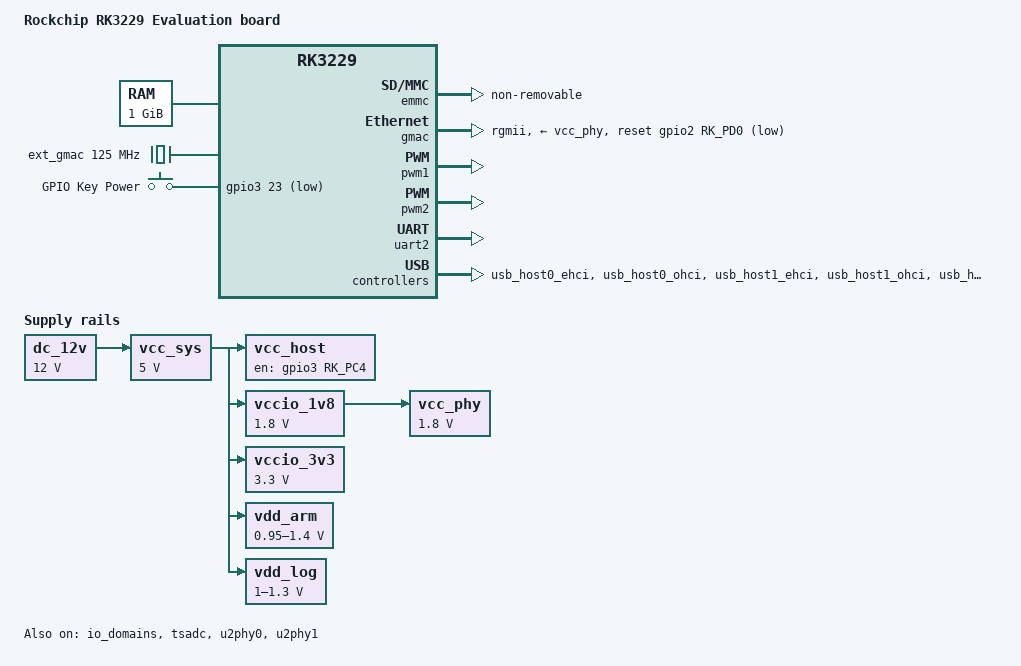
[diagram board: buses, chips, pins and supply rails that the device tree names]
// SPDX-License-Identifier: (GPL-2.0+ OR MIT)

/dts-v1/;

#include <dt-bindings/input/input.h>
#include "rk3229.dtsi"

/ {
	model = "Rockchip RK3229 Evaluation board";
	compatible = "rockchip,rk3229-evb", "rockchip,rk3229";

	aliases {
		mmc0 = &emmc;
	};

	memory@60000000 {
		device_type = "memory";
		reg = <0x60000000 0x40000000>;
	};

	dc_12v: regulator-dc-12v {
		compatible = "regulator-fixed";
		regulator-name = "dc_12v";
		regulator-always-on;
		regulator-boot-on;
		regulator-min-microvolt = <12000000>;
		regulator-max-microvolt = <12000000>;
	};

	ext_gmac: ext_gmac {
		compatible = "fixed-clock";
		clock-frequency = <125000000>;
		clock-output-names = "ext_gmac";
		#clock-cells = <0>;
	};

	vcc_host: regulator-vcc-host {
		compatible = "regulator-fixed";
		enable-active-high;
		gpio = <&gpio3 RK_PC4 GPIO_ACTIVE_HIGH>;
		pinctrl-names = "default";
		pinctrl-0 = <&host_vbus_drv>;
		regulator-name = "vcc_host";
		regulator-always-on;
		regulator-boot-on;
		vin-supply = <&vcc_sys>;
	};

	vcc_phy: regulator-vcc-phy {
		compatible = "regulator-fixed";
		enable-active-high;
		regulator-name = "vcc_phy";
		regulator-min-microvolt = <1800000>;
		regulator-max-microvolt = <1800000>;
		regulator-always-on;
		regulator-boot-on;
		vin-supply = <&vccio_1v8>;
	};

	vcc_sys: regulator-vcc-sys {
		compatible = "regulator-fixed";
		regulator-name = "vcc_sys";
		regulator-always-on;
		regulator-boot-on;
		regulator-min-microvolt = <5000000>;
		regulator-max-microvolt = <5000000>;
		vin-supply = <&dc_12v>;
	};

	vccio_1v8: regulator-vccio-1v8 {
		compatible = "regulator-fixed";
		regulator-name = "vccio_1v8";
		regulator-min-microvolt = <1800000>;
		regulator-max-microvolt = <1800000>;
		regulator-always-on;
		vin-supply = <&vcc_sys>;
	};

	vccio_3v3: regulator-vccio-3v3 {
		compatible = "regulator-fixed";
		regulator-name = "vccio_3v3";
		regulator-min-microvolt = <3300000>;
		regulator-max-microvolt = <3300000>;
		regulator-always-on;
		vin-supply = <&vcc_sys>;
	};

	vdd_arm: regulator-vdd-arm {
		compatible = "pwm-regulator";
		pwms = <&pwm1 0 25000 1>;
		pwm-supply = <&vcc_sys>;
		regulator-name = "vdd_arm";
		regulator-min-microvolt = <950000>;
		regulator-max-microvolt = <1400000>;
		regulator-always-on;
		regulator-boot-on;
	};

	vdd_log: regulator-vdd-log {
		compatible = "pwm-regulator";
		pwms = <&pwm2 0 25000 1>;
		pwm-supply = <&vcc_sys>;
		regulator-name = "vdd_log";
		regulator-min-microvolt = <1000000>;
		regulator-max-microvolt = <1300000>;
		regulator-always-on;
		regulator-boot-on;
	};

	gpio-keys {
		compatible = "gpio-keys";
		autorepeat;
		pinctrl-names = "default";
		pinctrl-0 = <&pwr_key>;

		power_key: power-key {
			label = "GPIO Key Power";
			gpios = <&gpio3 23 GPIO_ACTIVE_LOW>;
			linux,code = <KEY_POWER>;
			debounce-interval = <100>;
			wakeup-source;
		};
	};
};

&cpu0 {
	cpu-supply = <&vdd_arm>;
};

&cpu1 {
	cpu-supply = <&vdd_arm>;
};

&cpu2 {
	cpu-supply = <&vdd_arm>;
};

&cpu3 {
	cpu-supply = <&vdd_arm>;
};

&emmc {
	cap-mmc-highspeed;
	non-removable;
	status = "okay";
};

&gmac {
	assigned-clocks = <&cru SCLK_MAC_EXTCLK>, <&cru SCLK_MAC>;
	assigned-clock-parents = <&ext_gmac>, <&cru SCLK_MAC_EXTCLK>;
	clock_in_out = "input";
	phy-supply = <&vcc_phy>;
	phy-mode = "rgmii";
	pinctrl-names = "default";
	pinctrl-0 = <&rgmii_pins>;
	snps,reset-gpio = <&gpio2 RK_PD0 GPIO_ACTIVE_LOW>;
	snps,reset-active-low;
	snps,reset-delays-us = <0 10000 1000000>;
	tx_delay = <0x30>;
	rx_delay = <0x10>;
	status = "okay";
};

&io_domains {
	status = "okay";

	vccio1-supply = <&vccio_3v3>;
	vccio2-supply = <&vccio_1v8>;
	vccio4-supply = <&vccio_3v3>;
};

&pinctrl {
	keys {
		pwr_key: pwr-key {
			rockchip,pins = <3 RK_PC7 RK_FUNC_GPIO &pcfg_pull_up>;
		};
	};

	usb {
		host_vbus_drv: host-vbus-drv {
			rockchip,pins = <3 RK_PC4 RK_FUNC_GPIO &pcfg_pull_none>;
		};
	};
};

&pwm1 {
	status = "okay";
};

&pwm2 {
	status = "okay";
};

&tsadc {
	rockchip,hw-tshut-mode = <0>; /* tshut mode 0:CRU 1:GPIO */
	status = "okay";
};

&uart2 {
	status = "okay";
};

&u2phy0 {
	status = "okay";

	u2phy0_otg: otg-port {
		status = "okay";
	};

	u2phy0_host: host-port {
		phy-supply = <&vcc_host>;
		status = "okay";
	};
};

&u2phy1 {
	status = "okay";

	u2phy1_otg: otg-port {
		phy-supply = <&vcc_host>;
		status = "okay";
	};

	u2phy1_host: host-port {
		phy-supply = <&vcc_host>;
		status = "okay";
	};
};

&usb_host0_ehci {
	status = "okay";
};

&usb_host0_ohci {
	status = "okay";
};

&usb_host1_ehci {
	status = "okay";
};

&usb_host1_ohci {
	status = "okay";
};

&usb_host2_ehci {
	status = "okay";
};

&usb_host2_ohci {
	status = "okay";
};

&usb_otg {
	status = "okay";
};
